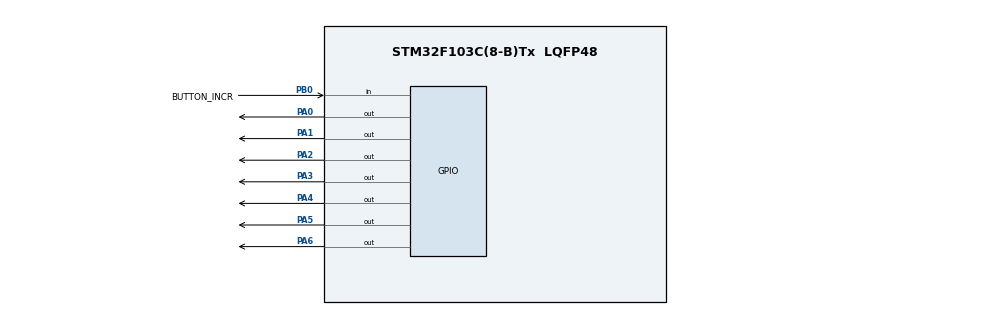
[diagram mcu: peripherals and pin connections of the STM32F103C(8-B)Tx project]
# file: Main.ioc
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Mcu.Family=STM32F1
Mcu.Name=STM32F103C(8-B)Tx
Mcu.Package=LQFP48
NVIC.PriorityGroup=NVIC_PRIORITYGROUP_4
PA0-WKUP.Signal=GPIO_Output
PA1.GPIO_ModeDefaultOutputPP=GPIO_MODE_OUTPUT_PP
PA1.Signal=GPIO_Output
PA2.Signal=GPIO_Output
PA3.Signal=GPIO_Output
PA4.Signal=GPIO_Output
PA5.Signal=GPIO_Output
PA6.Signal=GPIO_Output
PB0.GPIO_Label=BUTTON_INCR
PB0.GPIO_PuPd=GPIO_PULLUP
PB0.Signal=GPIO_Input
ProjectManager.HeapSize=0x200
ProjectManager.StackSize=0x400
ProjectManager.TargetToolchain=MDK-ARM V5.32
RCC.AHBFreq_Value=8000000
RCC.APB1Freq_Value=8000000
RCC.APB1TimFreq_Value=8000000
RCC.APB2Freq_Value=8000000
RCC.APB2TimFreq_Value=8000000
RCC.HCLKFreq_Value=8000000
RCC.HSICalibrationValue=8
RCC.SYSCLKFreq_VALUE=8000000
RCC.USBFreq_Value=8000000
VP_SYS_VS_ND.Mode=No_Debug
board=custom

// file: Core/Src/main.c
/* USER CODE BEGIN Header */
/**
  ******************************************************************************
  * @file           : main.c
  * @brief          : Main program body
  ******************************************************************************
  * @attention
  *
  * Copyright (c) 2023 STMicroelectronics.
  * All rights reserved.
  *
  * This software is licensed under terms that can be found in the LICENSE file
  * in the root directory of this software component.
  * If no LICENSE file comes with this software, it is provided AS-IS.
  *
  ******************************************************************************
  */
/* USER CODE END Header */
#include "main.h"

/* USER CODE BEGIN Includes */
#include "Display_7Segment.h"
/* USER CODE END Includes */

/* USER CODE BEGIN PV */
uint8_t table_7segment_[10] = {0x3F, 0x06, 0x5B, 0x4F, 0x66, 0x6D, 0x7D, 0x07, 0x7F, 0x6F};
uint8_t i =0;
/* USER CODE END PV */

void SystemClock_Config(void);
static void MX_GPIO_Init(void);

/* USER CODE BEGIN PFP */
//**************************************
void Display_7Segment(unsigned int value){
			value=_ConvertNumberTo7SegmentData(value);
			if(ACTIVATE_SEGMENT==0){value= _ToggleData(value);}
			_DriveDataOn7Segment(value);
			WritePinFromOutput(DIGIT0_GPIO,DIGIT0_PIN,ACTIVATE_DIGIT);
}
/* USER CODE END PFP */

int main(void){
  /* USER CODE BEGIN 1 */
	char status=1;
  /* USER CODE END 1 */

  /* MCU Configuration--------------------------------------------------------*/

  /* Reset of all peripherals, Initializes the Flash interface and the Systick. */
  LL_APB2_GRP1_EnableClock(LL_APB2_GRP1_PERIPH_AFIO);
  LL_APB1_GRP1_EnableClock(LL_APB1_GRP1_PERIPH_PWR);

  /* System interrupt init*/
  NVIC_SetPriorityGrouping(NVIC_PRIORITYGROUP_4);

  /* SysTick_IRQn interrupt configuration */
  NVIC_SetPriority(SysTick_IRQn, NVIC_EncodePriority(NVIC_GetPriorityGrouping(),15, 0));

  /** DISABLE: JTAG-DP Disabled and SW-DP Disabled
  */
  LL_GPIO_AF_DisableRemap_SWJ();

  /* Configure the system clock */
  SystemClock_Config();

  /* Initialize all configured peripherals */
  MX_GPIO_Init();
  /* USER CODE BEGIN 2 */
	Configure7Segment;
  /* USER CODE END 2 */
  /* Infinite loop */
  /* USER CODE BEGIN WHILE */
	Display_7Segment(0);

  while(1){
    /* USER CODE END WHILE */
    /* USER CODE BEGIN 3 */
		//if ((((((LL_GPIO_ReadInputPort(GPIOB)) >> 0) & 0b1UL)) == 0) && status==1){
		if(GetPinFromInput(GPIOB,0) == 0 && status==1){
			status=0;
			i++; if(i>9){i=0;}
			Display_7Segment(i);
		}
		if(GetPinFromInput(GPIOB,0)){status=1;}
  }
  /* USER CODE END 3 */
}

void SystemClock_Config(void)
{
  LL_FLASH_SetLatency(LL_FLASH_LATENCY_0);
  while(LL_FLASH_GetLatency()!= LL_FLASH_LATENCY_0)
  {
  }
  LL_RCC_HSI_SetCalibTrimming(8);
  LL_RCC_HSI_Enable();

   /* Wait till HSI is ready */
  //while(LL_RCC_HSI_IsReady() != 1)
  {

  }
  LL_RCC_SetAHBPrescaler(LL_RCC_SYSCLK_DIV_1);
  LL_RCC_SetAPB1Prescaler(LL_RCC_APB1_DIV_1);
  LL_RCC_SetAPB2Prescaler(LL_RCC_APB2_DIV_1);
  LL_RCC_SetSysClkSource(LL_RCC_SYS_CLKSOURCE_HSI);

   /* Wait till System clock is ready */
  while(LL_RCC_GetSysClkSource() != LL_RCC_SYS_CLKSOURCE_STATUS_HSI)
  {

  }
  LL_Init1msTick(8000000);
  LL_SetSystemCoreClock(8000000);
}

static void MX_GPIO_Init(void)
{
  LL_GPIO_InitTypeDef GPIO_InitStruct = {0};

  /* GPIO Ports Clock Enable */
  LL_APB2_GRP1_EnableClock(LL_APB2_GRP1_PERIPH_GPIOA);
  LL_APB2_GRP1_EnableClock(LL_APB2_GRP1_PERIPH_GPIOB);

  /**/
	/*
  LL_GPIO_ResetOutputPin(GPIOA, LL_GPIO_PIN_0|LL_GPIO_PIN_1|LL_GPIO_PIN_2|LL_GPIO_PIN_3
                          |LL_GPIO_PIN_4|LL_GPIO_PIN_5|LL_GPIO_PIN_6);
	*/

  /**/
	/*
  GPIO_InitStruct.Pin = LL_GPIO_PIN_0|LL_GPIO_PIN_1|LL_GPIO_PIN_2|LL_GPIO_PIN_3
                          |LL_GPIO_PIN_4|LL_GPIO_PIN_5|LL_GPIO_PIN_6;
  GPIO_InitStruct.Mode = LL_GPIO_MODE_OUTPUT;
  GPIO_InitStruct.Speed = LL_GPIO_SPEED_FREQ_LOW;
  GPIO_InitStruct.OutputType = LL_GPIO_OUTPUT_PUSHPULL;
  LL_GPIO_Init(GPIOA, &GPIO_InitStruct);
	*/

  /**/
  GPIO_InitStruct.Pin = BUTTON_INCR_Pin;
  GPIO_InitStruct.Mode = LL_GPIO_MODE_INPUT;
  GPIO_InitStruct.Pull = LL_GPIO_PULL_UP;
  LL_GPIO_Init(BUTTON_INCR_GPIO_Port, &GPIO_InitStruct);

}

void Error_Handler(void)
{
  __disable_irq();
  while (1)
  {
  }
}
